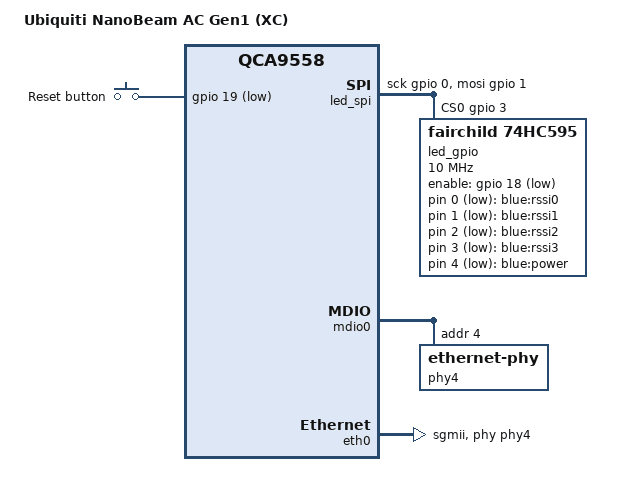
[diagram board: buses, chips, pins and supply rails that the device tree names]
// SPDX-License-Identifier: GPL-2.0-only
/*
 * Device Tree file for Ubiquiti Nanobeam NBE-5AC-19 (XC)
 *
 * Copyright (C) 2022 Daniel González Cabanelas <dgcbueu@gmail.com>
 * based on device tree from qca9558_ubnt_powerbeam-5ac-500.dts
 */
 
#include "qca955x_ubnt_xc.dtsi"

/ {
	compatible = "ubnt,nanobeam-ac-xc", "ubnt,xc", "qca,qca9558";
	model = "Ubiquiti NanoBeam AC Gen1 (XC)";

	aliases {
		led-boot = &led_power;
		led-failsafe = &led_power;
		led-running = &led_power;
		led-upgrade = &led_power;
	};

	keys {
		compatible = "gpio-keys";

		reset {
			label = "Reset button";
			linux,code = <KEY_RESTART>;
			gpios = <&gpio 19 GPIO_ACTIVE_LOW>;
			debounce-interval = <60>;
		};
	};

	led_spi {
		compatible = "spi-gpio";
		#address-cells = <1>;
		#size-cells = <0>;

		sck-gpios  = <&gpio 0 GPIO_ACTIVE_HIGH>;
		mosi-gpios = <&gpio 1 GPIO_ACTIVE_HIGH>;
		cs-gpios   = <&gpio 3 GPIO_ACTIVE_HIGH>;
		num-chipselects = <1>;

		led_gpio: led_gpio@0 {
			compatible = "fairchild,74hc595";
			reg = <0>;
			gpio-controller;
			#gpio-cells = <2>;
			registers-number = <1>;
			spi-max-frequency = <10000000>;
			enable-gpios = <&gpio 18 GPIO_ACTIVE_LOW>;
		};
	};

	leds {
		compatible = "gpio-leds";

		rssi0 {
			label = "blue:rssi0";
			gpios = <&led_gpio 0 GPIO_ACTIVE_LOW>;
		};
		rssi1 {
			label = "blue:rssi1";
			gpios = <&led_gpio 1 GPIO_ACTIVE_LOW>;
		};
		rssi2 {
			label = "blue:rssi2";
			gpios = <&led_gpio 2 GPIO_ACTIVE_LOW>;
		};
		rssi3 {
			label = "blue:rssi3";
			gpios = <&led_gpio 3 GPIO_ACTIVE_LOW>;
		};
		led_power: power {
			label = "blue:power";
			gpios = <&led_gpio 4 GPIO_ACTIVE_LOW>;
			default-state = "on";
		};
	};
};

&mdio0 {
	status = "okay";

	phy-mask = <4>;
	phy4: ethernet-phy@4 {
		phy-mode = "sgmii";
		reg = <4>;
		at803x-override-sgmii-link-check;
	};
};

&eth0 {
	status = "okay";

	pll-reg = <0 0x48 0>;
	pll-data = <0x03000000 0x00000101 0x00001313>;
	nvmem-cells = <&macaddr_art_0>;
	nvmem-cell-names = "mac-address";
	phy-mode = "sgmii";
	phy-handle = <&phy4>;
};

&art {
	compatible = "nvmem-cells";
	#address-cells = <1>;
	#size-cells = <1>;

	macaddr_art_0: macaddr@0 {
		reg = <0x0 0x6>;
	};
};
